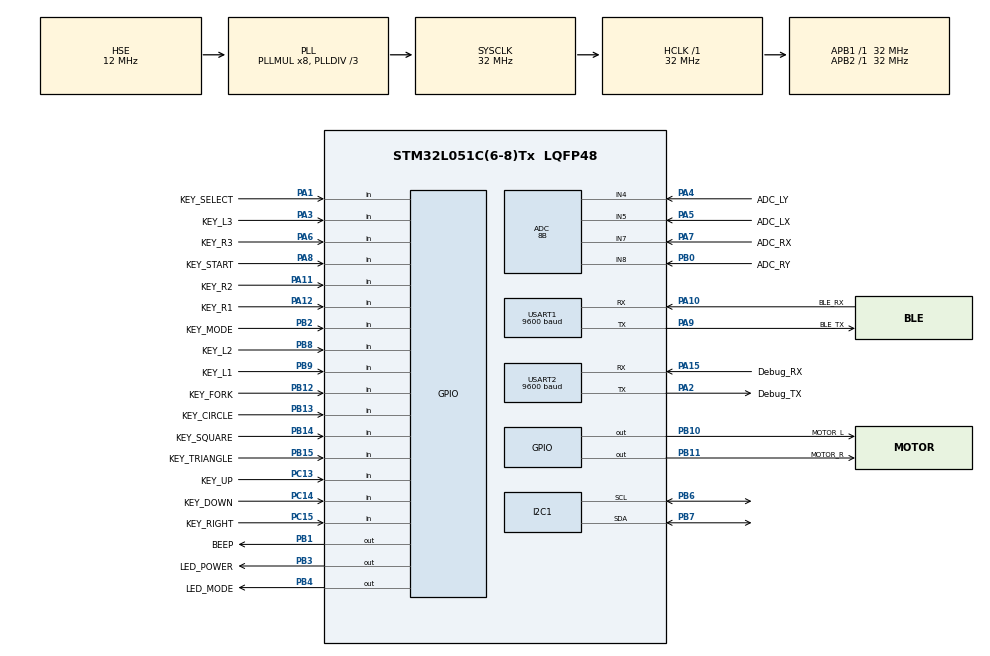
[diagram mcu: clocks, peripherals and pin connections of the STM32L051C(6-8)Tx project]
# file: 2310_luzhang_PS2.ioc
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ADC.ClockPrescaler=ADC_CLOCK_SYNC_PCLK_DIV4
ADC.ContinuousConvMode=ENABLE
ADC.DMAContinuousRequests=ENABLE
ADC.DiscontinuousConvMode=DISABLE
ADC.EOCSelection=ADC_EOC_SINGLE_CONV
ADC.EnableAnalogWatchDog=false
ADC.ExternalTrigConv=ADC_EXTERNALTRIGCONV_T6_TRGO
ADC.LowPowerAutoPowerOff=ENABLE
ADC.LowPowerAutoWait=ENABLE
ADC.Overrun=ADC_OVR_DATA_OVERWRITTEN
ADC.OversamplingMode=DISABLE
ADC.Resolution=ADC_RESOLUTION_8B
ADC.SamplingTime=ADC_SAMPLETIME_160CYCLES_5
Dma.ADC.0.Direction=DMA_PERIPH_TO_MEMORY
Dma.ADC.0.Instance=DMA1_Channel1
Dma.ADC.0.MemDataAlignment=DMA_MDATAALIGN_HALFWORD
Dma.ADC.0.MemInc=DMA_MINC_ENABLE
Dma.ADC.0.Mode=DMA_CIRCULAR
Dma.ADC.0.PeriphDataAlignment=DMA_PDATAALIGN_HALFWORD
Dma.ADC.0.PeriphInc=DMA_PINC_DISABLE
Dma.ADC.0.Priority=DMA_PRIORITY_VERY_HIGH
Dma.Request0=ADC
Dma.Request1=USART1_RX
Dma.Request2=USART1_TX
Dma.Request3=USART2_RX
Dma.Request4=USART2_TX
Dma.USART1_RX.1.Direction=DMA_PERIPH_TO_MEMORY
Dma.USART1_RX.1.Instance=DMA1_Channel3
Dma.USART1_RX.1.MemDataAlignment=DMA_MDATAALIGN_BYTE
Dma.USART1_RX.1.MemInc=DMA_MINC_ENABLE
Dma.USART1_RX.1.Mode=DMA_NORMAL
Dma.USART1_RX.1.PeriphDataAlignment=DMA_PDATAALIGN_BYTE
Dma.USART1_RX.1.PeriphInc=DMA_PINC_DISABLE
Dma.USART1_RX.1.Priority=DMA_PRIORITY_HIGH
Dma.USART1_TX.2.Direction=DMA_MEMORY_TO_PERIPH
Dma.USART1_TX.2.Instance=DMA1_Channel2
Dma.USART1_TX.2.MemDataAlignment=DMA_MDATAALIGN_BYTE
Dma.USART1_TX.2.MemInc=DMA_MINC_ENABLE
Dma.USART1_TX.2.Mode=DMA_NORMAL
Dma.USART1_TX.2.PeriphDataAlignment=DMA_PDATAALIGN_BYTE
Dma.USART1_TX.2.PeriphInc=DMA_PINC_DISABLE
Dma.USART1_TX.2.Priority=DMA_PRIORITY_MEDIUM
Dma.USART2_RX.3.Direction=DMA_PERIPH_TO_MEMORY
Dma.USART2_RX.3.Instance=DMA1_Channel5
Dma.USART2_RX.3.MemDataAlignment=DMA_MDATAALIGN_BYTE
Dma.USART2_RX.3.MemInc=DMA_MINC_ENABLE
Dma.USART2_RX.3.Mode=DMA_NORMAL
Dma.USART2_RX.3.PeriphDataAlignment=DMA_PDATAALIGN_BYTE
Dma.USART2_RX.3.PeriphInc=DMA_PINC_DISABLE
Dma.USART2_RX.3.Priority=DMA_PRIORITY_MEDIUM
Dma.USART2_TX.4.Direction=DMA_MEMORY_TO_PERIPH
Dma.USART2_TX.4.Instance=DMA1_Channel4
Dma.USART2_TX.4.MemDataAlignment=DMA_MDATAALIGN_BYTE
Dma.USART2_TX.4.MemInc=DMA_MINC_ENABLE
Dma.USART2_TX.4.Mode=DMA_NORMAL
Dma.USART2_TX.4.PeriphDataAlignment=DMA_PDATAALIGN_BYTE
Dma.USART2_TX.4.PeriphInc=DMA_PINC_DISABLE
Dma.USART2_TX.4.Priority=DMA_PRIORITY_HIGH
I2C1.Timing=0x00707CBB
Mcu.Family=STM32L0
Mcu.Name=STM32L051C(6-8)Tx
Mcu.Package=LQFP48
NVIC.DMA1_Channel1_IRQn=true\:0\:0\:false\:false\:true\:false\:true\:true
NVIC.DMA1_Channel2_3_IRQn=true\:0\:0\:false\:false\:true\:false\:true\:true
NVIC.DMA1_Channel4_5_6_7_IRQn=true\:0\:0\:false\:false\:true\:false\:true\:true
NVIC.TIM6_DAC_IRQn=true\:0\:0\:false\:false\:true\:true\:true\:true
NVIC.USART1_IRQn=true\:0\:0\:false\:false\:true\:true\:true\:true
NVIC.USART2_IRQn=true\:0\:0\:false\:false\:true\:true\:true\:true
PA0.Mode=SYS_WakeUp0
PA0.Signal=SYS_WKUP1
PA1.GPIO_Label=KEY_SELECT
PA1.GPIO_PuPd=GPIO_PULLUP
PA1.Signal=GPIO_Input
PA10.GPIO_Label=BLE_RX
PA10.Mode=Asynchronous
PA10.Signal=USART1_RX
PA11.GPIO_Label=KEY_R2
PA11.GPIO_PuPd=GPIO_PULLUP
PA11.Signal=GPIO_Input
PA12.GPIO_Label=KEY_R1
PA12.GPIO_PuPd=GPIO_PULLUP
PA12.Signal=GPIO_Input
PA13.Mode=Serial_Wire
PA13.Signal=SYS_SWDIO
PA14.Mode=Serial_Wire
PA14.Signal=SYS_SWCLK
PA15.GPIO_Label=Debug_RX
PA15.Mode=Asynchronous
PA15.Signal=USART2_RX
PA2.GPIO_Label=Debug_TX
PA2.Mode=Asynchronous
PA2.Signal=USART2_TX
PA3.GPIO_Label=KEY_L3
PA3.GPIO_PuPd=GPIO_PULLUP
PA3.Signal=GPIO_Input
PA4.GPIO_Label=ADC_LY
PA4.Mode=IN4
PA4.Signal=ADC_IN4
PA5.GPIO_Label=ADC_LX
PA5.Mode=IN5
PA5.Signal=ADC_IN5
PA6.GPIO_Label=KEY_R3
PA6.GPIO_PuPd=GPIO_PULLUP
PA6.Signal=GPIO_Input
PA7.GPIO_Label=ADC_RX
PA7.Mode=IN7
PA7.Signal=ADC_IN7
PA8.GPIO_Label=KEY_START
PA8.GPIO_PuPd=GPIO_PULLUP
PA8.Signal=GPIO_Input
PA9.GPIO_Label=BLE_TX
PA9.Mode=Asynchronous
PA9.Signal=USART1_TX
PB0.GPIO_Label=ADC_RY
PB0.Mode=IN8
PB0.Signal=ADC_IN8
PB1.GPIO_Label=BEEP
PB1.GPIO_ModeDefaultOutputPP=GPIO_MODE_OUTPUT_OD
PB1.GPIO_PuPd=GPIO_NOPULL
PB1.Signal=GPIO_Output
PB10.GPIO_Label=MOTOR_L
PB10.GPIO_ModeDefaultOutputPP=GPIO_MODE_OUTPUT_OD
PB10.GPIO_PuPd=GPIO_NOPULL
PB10.Signal=GPIO_Output
PB11.GPIO_Label=MOTOR_R
PB11.GPIO_ModeDefaultOutputPP=GPIO_MODE_OUTPUT_OD
PB11.GPIO_PuPd=GPIO_NOPULL
PB11.Signal=GPIO_Output
PB12.GPIO_Label=KEY_FORK
PB12.GPIO_PuPd=GPIO_PULLUP
PB12.Signal=GPIO_Input
PB13.GPIO_Label=KEY_CIRCLE
PB13.GPIO_PuPd=GPIO_PULLUP
PB13.Signal=GPIO_Input
PB14.GPIO_Label=KEY_SQUARE
PB14.GPIO_PuPd=GPIO_PULLUP
PB14.Signal=GPIO_Input
PB15.GPIO_Label=KEY_TRIANGLE
PB15.GPIO_PuPd=GPIO_PULLUP
PB15.Signal=GPIO_Input
PB2.GPIO_Label=KEY_MODE
PB2.GPIO_PuPd=GPIO_PULLUP
PB2.Signal=GPIO_Input
PB3.GPIO_Label=LED_POWER
PB3.GPIO_ModeDefaultOutputPP=GPIO_MODE_OUTPUT_OD
PB3.GPIO_PuPd=GPIO_NOPULL
PB3.Signal=GPIO_Output
PB4.GPIO_Label=LED_MODE
PB4.GPIO_ModeDefaultOutputPP=GPIO_MODE_OUTPUT_OD
PB4.GPIO_PuPd=GPIO_NOPULL
PB4.Signal=GPIO_Output
PB6.Mode=I2C
PB6.Signal=I2C1_SCL
PB7.Mode=I2C
PB7.Signal=I2C1_SDA
PB8.GPIO_Label=KEY_L2
PB8.GPIO_PuPd=GPIO_PULLUP
PB8.Signal=GPIO_Input
PB9.GPIO_Label=KEY_L1
PB9.GPIO_PuPd=GPIO_PULLUP
PB9.Signal=GPIO_Input
PC13.GPIO_Label=KEY_UP
PC13.GPIO_PuPd=GPIO_PULLUP
PC13.Signal=GPIO_Input
PC14-OSC32_IN.GPIO_Label=KEY_DOWN
PC14-OSC32_IN.GPIO_PuPd=GPIO_PULLUP
PC14-OSC32_IN.Signal=GPIO_Input
PC15-OSC32_OUT.GPIO_Label=KEY_RIGHT
PC15-OSC32_OUT.GPIO_PuPd=GPIO_PULLUP
PC15-OSC32_OUT.Signal=GPIO_Input
PH0-OSC_IN.Mode=HSE-External-Oscillator
PH0-OSC_IN.Signal=RCC_OSC_IN
PH1-OSC_OUT.Mode=HSE-External-Oscillator
PH1-OSC_OUT.Signal=RCC_OSC_OUT
ProjectManager.HeapSize=0x200
ProjectManager.StackSize=0x400
ProjectManager.TargetToolchain=MDK-ARM V5.32
RCC.AHBFreq_Value=32000000
RCC.APB1Freq_Value=32000000
RCC.APB1TimFreq_Value=32000000
RCC.APB2Freq_Value=32000000
RCC.APB2TimFreq_Value=32000000
RCC.HCLKFreq_Value=32000000
RCC.HSE_VALUE=12000000
RCC.HSI16_VALUE=16000000
RCC.HSI_VALUE=16000000
RCC.LSE_VALUE=32768
RCC.MSI_VALUE=2097000
RCC.PLLDIV=RCC_PLLDIV_3
RCC.PLLMUL=RCC_PLLMUL_8
RCC.PLLSourceVirtual=RCC_PLLSOURCE_HSE
RCC.SYSCLKFreq_VALUE=32000000
RCC.SYSCLKSource=RCC_SYSCLKSOURCE_PLLCLK
RCC.VCOOutputFreq_Value=96000000
TIM6.AutoReloadPreload=TIM_AUTORELOAD_PRELOAD_ENABLE
TIM6.Period=0xc350
TIM6.Prescaler=63
TIM6.TIM_MasterOutputTrigger=TIM_TRGO_UPDATE
USART1.AutoBaudRateEnableParam=UART_ADVFEATURE_AUTOBAUDRATE_DISABLE
USART1.BaudRate=9600
USART1.VirtualMode-Asynchronous=VM_ASYNC
USART2.BaudRate=9600
USART2.VirtualMode-Asynchronous=VM_ASYNC
VP_ADC_TempSens_Input.Mode=IN-TempSens
VP_ADC_Vref_Input.Mode=IN-Vrefint
VP_TIM2_VS_ClockSourceINT.Mode=Internal
VP_TIM6_VS_ClockSourceINT.Mode=Enable_Timer
board=custom

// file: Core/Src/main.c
/* USER CODE BEGIN Header */
/**
 ******************************************************************************
 * @file           : main.c
 * @brief          : Main program body
 ******************************************************************************
 * @attention
 *
 * Copyright (c) 2023 STMicroelectronics.
 * All rights reserved.
 *
 * This software is licensed under terms that can be found in the LICENSE file
 * in the root directory of this software component.
 * If no LICENSE file comes with this software, it is provided AS-IS.
 *
 ******************************************************************************
 */
/* USER CODE END Header */
#include "main.h"
#include "adc.h"
#include "dma.h"
#include "i2c.h"
#include "tim.h"
#include "usart.h"
#include "gpio.h"

/* USER CODE BEGIN Includes */

#include "bsp_key.h"
#include "bsp_led.h"
#include "bsp_joy.h"
#include "bsp_dbg.h"
#include "bsp_ble.h"
#include "ble_at.h"

/* USER CODE END Includes */

void SystemClock_Config(void);

/* USER CODE BEGIN 0 */
uint32_t    clk = 0x00000000;
uint16_t    flag = 0x0000;
/* USER CODE END 0 */

int main(void)
{

  /* MCU Configuration--------------------------------------------------------*/

  /* Reset of all peripherals, Initializes the Flash interface and the Systick. */
  HAL_Init();

  /* Configure the system clock */
  SystemClock_Config();

  /* Initialize all configured peripherals */
  MX_GPIO_Init();
  MX_DMA_Init();
  MX_ADC_Init();
  MX_USART1_UART_Init();
  MX_USART2_UART_Init();
  MX_I2C1_Init();
  MX_TIM6_Init();
  MX_TIM2_Init();
  /* USER CODE BEGIN 2 */

  HAL_Delay(100);
  // joy_main();
  led_main();
  dbg_main();
  ble_main();
  HAL_Delay(100);
  jdy_init();

  /* USER CODE END 2 */

  /* Infinite loop */
  /* USER CODE BEGIN WHILE */
  while (1)
  {
    // LED_POWER_LOOP();

    /* USER CODE END WHILE */

    /* USER CODE BEGIN 3 */

    Key_Loop();
    Led_Loop();
    jdy_loop();
    if(flag==0x0001)
    {
      dbg_send((uint8_t*)"sleep");
      Sys_Enter_Standby();
      dbg_send((uint8_t*)"wake up");
      flag=0x0000;
      clk=0x00000000;
    }
    // joy_loop();

  }
  /* USER CODE END 3 */
}

void SystemClock_Config(void)
{
  RCC_OscInitTypeDef RCC_OscInitStruct = {0};
  RCC_ClkInitTypeDef RCC_ClkInitStruct = {0};
  RCC_PeriphCLKInitTypeDef PeriphClkInit = {0};

  /** Configure the main internal regulator output voltage
  */
  __HAL_PWR_VOLTAGESCALING_CONFIG(PWR_REGULATOR_VOLTAGE_SCALE1);

  /** Initializes the RCC Oscillators according to the specified parameters
  * in the RCC_OscInitTypeDef structure.
  */
  RCC_OscInitStruct.OscillatorType = RCC_OSCILLATORTYPE_HSE;
  RCC_OscInitStruct.HSEState = RCC_HSE_ON;
  RCC_OscInitStruct.PLL.PLLState = RCC_PLL_ON;
  RCC_OscInitStruct.PLL.PLLSource = RCC_PLLSOURCE_HSE;
  RCC_OscInitStruct.PLL.PLLMUL = RCC_PLLMUL_8;
  RCC_OscInitStruct.PLL.PLLDIV = RCC_PLLDIV_3;
  if (HAL_RCC_OscConfig(&RCC_OscInitStruct) != HAL_OK)
  {
    Error_Handler();
  }

  /** Initializes the CPU, AHB and APB buses clocks
  */
  RCC_ClkInitStruct.ClockType = RCC_CLOCKTYPE_HCLK|RCC_CLOCKTYPE_SYSCLK
                              |RCC_CLOCKTYPE_PCLK1|RCC_CLOCKTYPE_PCLK2;
  RCC_ClkInitStruct.SYSCLKSource = RCC_SYSCLKSOURCE_PLLCLK;
  RCC_ClkInitStruct.AHBCLKDivider = RCC_SYSCLK_DIV1;
  RCC_ClkInitStruct.APB1CLKDivider = RCC_HCLK_DIV1;
  RCC_ClkInitStruct.APB2CLKDivider = RCC_HCLK_DIV1;

  if (HAL_RCC_ClockConfig(&RCC_ClkInitStruct, FLASH_LATENCY_1) != HAL_OK)
  {
    Error_Handler();
  }
  PeriphClkInit.PeriphClockSelection = RCC_PERIPHCLK_USART1|RCC_PERIPHCLK_USART2
                              |RCC_PERIPHCLK_I2C1;
  PeriphClkInit.Usart1ClockSelection = RCC_USART1CLKSOURCE_PCLK2;
  PeriphClkInit.Usart2ClockSelection = RCC_USART2CLKSOURCE_PCLK1;
  PeriphClkInit.I2c1ClockSelection = RCC_I2C1CLKSOURCE_PCLK1;
  if (HAL_RCCEx_PeriphCLKConfig(&PeriphClkInit) != HAL_OK)
  {
    Error_Handler();
  }
}

/* USER CODE BEGIN 4 */
void Sys_Enter_Standby(void){
    __HAL_RCC_PWR_CLK_ENABLE();     //使能PWR时钟
    __HAL_PWR_CLEAR_FLAG(PWR_FLAG_WU);      //清除Wake_UP标志
    HAL_PWR_EnableWakeUpPin(PWR_WAKEUP_PIN1);   //设置WAKEUP用于唤醒
    HAL_PWR_EnterSTANDBYMode();     //进入待机模式
}
/* USER CODE END 4 */

void Error_Handler(void)
{
  /* USER CODE BEGIN Error_Handler_Debug */
    /* User can add his own implementation to report the HAL error return state */
    __disable_irq();

    while (1)
    {
        HAL_Delay(2000);
        HAL_GPIO_WritePin(LED_MODE_GPIO_Port, LED_MODE_Pin, GPIO_PIN_RESET);
        HAL_Delay(1000);
        HAL_GPIO_WritePin(LED_MODE_GPIO_Port, LED_MODE_Pin, GPIO_PIN_SET);
    }
  /* USER CODE END Error_Handler_Debug */
}

#ifdef  USE_FULL_ASSERT
/**
  * @brief  Reports the name of the source file and the source line number
  *         where the assert_param error has occurred.
  * @param  file: pointer to the source file name
  * @param  line: assert_param error line source number
  * @retval None
  */
void assert_failed(uint8_t *file, uint32_t line)
{
  /* USER CODE BEGIN 6 */
    /* User can add his own implementation to report the file name and line
     number, ex: printf("Wrong parameters value: file %s on line %d\r\n", file,
     line) */
  /* USER CODE END 6 */
}
#endif /* USE_FULL_ASSERT */
